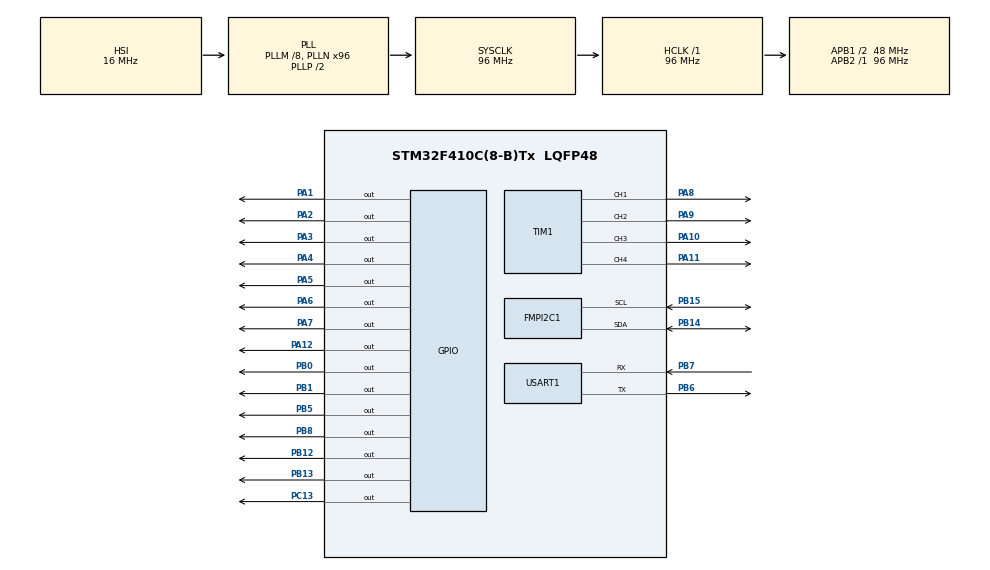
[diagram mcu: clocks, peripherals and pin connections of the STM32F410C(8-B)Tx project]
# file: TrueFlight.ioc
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Dma.Request0=USART1_RX
Dma.USART1_RX.0.Direction=DMA_PERIPH_TO_MEMORY
Dma.USART1_RX.0.FIFOMode=DMA_FIFOMODE_DISABLE
Dma.USART1_RX.0.Instance=DMA2_Stream2
Dma.USART1_RX.0.MemDataAlignment=DMA_MDATAALIGN_BYTE
Dma.USART1_RX.0.MemInc=DMA_MINC_ENABLE
Dma.USART1_RX.0.Mode=DMA_NORMAL
Dma.USART1_RX.0.PeriphDataAlignment=DMA_PDATAALIGN_BYTE
Dma.USART1_RX.0.PeriphInc=DMA_PINC_DISABLE
Dma.USART1_RX.0.Priority=DMA_PRIORITY_LOW
FMPI2C1.Timing=0x20303E5D
Mcu.Family=STM32F4
Mcu.Name=STM32F410C(8-B)Tx
Mcu.Package=LQFP48
NVIC.DMA2_Stream2_IRQn=true\:0\:0\:false\:false\:true\:false
NVIC.PriorityGroup=NVIC_PRIORITYGROUP_4
PA1.Signal=GPIO_Output
PA10.Signal=S_TIM1_CH3
PA11.Signal=S_TIM1_CH4
PA12.Signal=GPIO_Output
PA13.Mode=JTAG_5_pins
PA13.Signal=SYS_JTMS-SWDIO
PA14.Mode=JTAG_5_pins
PA14.Signal=SYS_JTCK-SWCLK
PA15.Mode=JTAG_5_pins
PA15.Signal=SYS_JTDI
PA2.Signal=GPIO_Output
PA3.Signal=GPIO_Output
PA4.Signal=GPIO_Output
PA5.Signal=GPIO_Output
PA6.Signal=GPIO_Output
PA7.Signal=GPIO_Output
PA8.Signal=S_TIM1_CH1
PA9.Signal=S_TIM1_CH2
PB0.Signal=GPIO_Output
PB1.Signal=GPIO_Output
PB12.Signal=GPIO_Output
PB13.Signal=GPIO_Output
PB14.Mode=I2C
PB14.Signal=FMPI2C1_SDA
PB15.Mode=I2C
PB15.Signal=FMPI2C1_SCL
PB3.Mode=JTAG_5_pins
PB3.Signal=SYS_JTDO-SWO
PB4.Mode=JTAG_5_pins
PB4.Signal=SYS_JTRST
PB5.Signal=GPIO_Output
PB6.Mode=Asynchronous
PB6.Signal=USART1_TX
PB7.Mode=Asynchronous
PB7.Signal=USART1_RX
PB8.Signal=GPIO_Output
PC13-ANTI_TAMP.Signal=GPIO_Output
PC14-OSC32_IN.Mode=LSE-External-Oscillator
PC14-OSC32_IN.Signal=RCC_OSC32_IN
PC15-OSC32_OUT.Mode=LSE-External-Oscillator
PC15-OSC32_OUT.Signal=RCC_OSC32_OUT
PH0\ -\ OSC_IN.Mode=HSE-External-Oscillator
PH0\ -\ OSC_IN.Signal=RCC_OSC_IN
PH1\ -\ OSC_OUT.Mode=HSE-External-Oscillator
PH1\ -\ OSC_OUT.Signal=RCC_OSC_OUT
ProjectManager.HeapSize=0x200
ProjectManager.StackSize=0x400
ProjectManager.TargetToolchain=MDK-ARM V5
RCC.48MHZClocksFreq_Value=48000000
RCC.AHBFreq_Value=96000000
RCC.APB1CLKDivider=RCC_HCLK_DIV2
RCC.APB1Freq_Value=48000000
RCC.APB1TimFreq_Value=96000000
RCC.APB2Freq_Value=96000000
RCC.APB2TimFreq_Value=96000000
RCC.CortexFreq_Value=96000000
RCC.HCLKFreq_Value=96000000
RCC.HSE_VALUE=25000000
RCC.HSI_VALUE=16000000
RCC.PLLM=8
RCC.PLLN=96
RCC.SYSCLKFreq_VALUE=96000000
RCC.SYSCLKSource=RCC_SYSCLKSOURCE_PLLCLK
RCC.VCOOutputFreq_Value=192000000
SH.S_TIM1_CH1.0=TIM1_CH1,PWM Generation1 CH1
SH.S_TIM1_CH2.0=TIM1_CH2,PWM Generation2 CH2
SH.S_TIM1_CH3.0=TIM1_CH3,PWM Generation3 CH3
SH.S_TIM1_CH4.0=TIM1_CH4,PWM Generation4 CH4
TIM1.Channel-PWM\ Generation1\ CH1=TIM_CHANNEL_1
TIM1.Channel-PWM\ Generation2\ CH2=TIM_CHANNEL_2
TIM1.Channel-PWM\ Generation3\ CH3=TIM_CHANNEL_3
TIM1.Channel-PWM\ Generation4\ CH4=TIM_CHANNEL_4
USART1.VirtualMode=VM_ASYNC
VP_RTC_VS_RTC_Activate.Mode=RTC_Enabled
board=custom

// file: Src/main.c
/* USER CODE BEGIN Header */
/**
  ******************************************************************************
  * @file           : main.c
  * @brief          : Main program body
  ******************************************************************************
  ** This notice applies to any and all portions of this file
  * that are not between comment pairs USER CODE BEGIN and
  * USER CODE END. Other portions of this file, whether
  * inserted by the user or by software development tools
  * are owned by their respective copyright owners.
  *
  * COPYRIGHT(c) 2021 STMicroelectronics
  *
  * Redistribution and use in source and binary forms, with or without modification,
  * are permitted provided that the following conditions are met:
  *   1. Redistributions of source code must retain the above copyright notice,
  *      this list of conditions and the following disclaimer.
  *   2. Redistributions in binary form must reproduce the above copyright notice,
  *      this list of conditions and the following disclaimer in the documentation
  *      and/or other materials provided with the distribution.
  *   3. Neither the name of STMicroelectronics nor the names of its contributors
  *      may be used to endorse or promote products derived from this software
  *      without specific prior written permission.
  *
  * THIS SOFTWARE IS PROVIDED BY THE COPYRIGHT HOLDERS AND CONTRIBUTORS "AS IS"
  * AND ANY EXPRESS OR IMPLIED WARRANTIES, INCLUDING, BUT NOT LIMITED TO, THE
  * IMPLIED WARRANTIES OF MERCHANTABILITY AND FITNESS FOR A PARTICULAR PURPOSE ARE
  * DISCLAIMED. IN NO EVENT SHALL THE COPYRIGHT HOLDER OR CONTRIBUTORS BE LIABLE
  * FOR ANY DIRECT, INDIRECT, INCIDENTAL, SPECIAL, EXEMPLARY, OR CONSEQUENTIAL
  * DAMAGES (INCLUDING, BUT NOT LIMITED TO, PROCUREMENT OF SUBSTITUTE GOODS OR
  * SERVICES; LOSS OF USE, DATA, OR PROFITS; OR BUSINESS INTERRUPTION) HOWEVER
  * CAUSED AND ON ANY THEORY OF LIABILITY, WHETHER IN CONTRACT, STRICT LIABILITY,
  * OR TORT (INCLUDING NEGLIGENCE OR OTHERWISE) ARISING IN ANY WAY OUT OF THE USE
  * OF THIS SOFTWARE, EVEN IF ADVISED OF THE POSSIBILITY OF SUCH DAMAGE.
  *
  ******************************************************************************
  */
/* USER CODE END Header */

#include "main.h"

/* USER CODE BEGIN Includes */
#include "TJ_MPU6050.h"
/* USER CODE END Includes */

FMPI2C_HandleTypeDef hfmpi2c1;

RTC_HandleTypeDef hrtc;

TIM_HandleTypeDef htim1;

UART_HandleTypeDef huart1;
DMA_HandleTypeDef hdma_usart1_rx;

void SystemClock_Config(void);
static void MX_GPIO_Init(void);
static void MX_DMA_Init(void);
static void MX_TIM1_Init(void);
static void MX_FMPI2C1_Init(void);
static void MX_USART1_UART_Init(void);
static void MX_RTC_Init(void);

/* USER CODE BEGIN 0 */
RawData_Def myAccelRaw, myGyroRaw;
ScaledData_Def myAccelScaled, myGyroScaled;
float gyro_x, gyro_y, gyro_z;
float acc_x, acc_y, acc_z;
/* USER CODE END 0 */

int main(void)
{
  /* USER CODE BEGIN 1 */
  MPU_ConfigTypeDef myMpuConfig;
  /* USER CODE END 1 */

  /* MCU Configuration--------------------------------------------------------*/

  /* Reset of all peripherals, Initializes the Flash interface and the Systick. */
  HAL_Init();

  /* Configure the system clock */
  SystemClock_Config();

  /* Initialize all configured peripherals */
  MX_GPIO_Init();
  MX_DMA_Init();
  MX_TIM1_Init();
  MX_FMPI2C1_Init();
  MX_USART1_UART_Init();
  MX_RTC_Init();
  /* USER CODE BEGIN 2 */
  //1. Initialise the MPU6050 module and I2C
	MPU6050_Init(&hfmpi2c1);
	//2. Configure Accel and Gyro parameters
	myMpuConfig.Accel_Full_Scale = AFS_SEL_4g;
	myMpuConfig.ClockSource = Internal_8MHz;
	myMpuConfig.CONFIG_DLPF = DLPF_184A_188G_Hz;
	myMpuConfig.Gyro_Full_Scale = FS_SEL_500;
	myMpuConfig.Sleep_Mode_Bit = 0;  //1: sleep mode, 0: normal mode
	MPU6050_Config(&myMpuConfig);
  /* USER CODE END 2 */

  /* Infinite loop */
  while (1)
  {

    /* USER CODE BEGIN 3 */
    MPU6050_Get_Accel_RawData(&myAccelRaw);
    MPU6050_Get_Gyro_RawData(&myGyroRaw);
    //MPU6050_Get_Accel_Scale(&myAccelScaled);
    //MPU6050_Get_Gyro_Scale(&myGyroScaled);
    gyro_x = myGyroRaw.x;
    gyro_y = myGyroRaw.y;
    gyro_z = myGyroRaw.z;
  }
  /* USER CODE END 3 */
}

void SystemClock_Config(void)
{
  RCC_OscInitTypeDef RCC_OscInitStruct = {0};
  RCC_ClkInitTypeDef RCC_ClkInitStruct = {0};
  RCC_PeriphCLKInitTypeDef PeriphClkInitStruct = {0};

  /**Configure the main internal regulator output voltage
  */
  __HAL_RCC_PWR_CLK_ENABLE();
  __HAL_PWR_VOLTAGESCALING_CONFIG(PWR_REGULATOR_VOLTAGE_SCALE1);
  /**Initializes the CPU, AHB and APB busses clocks
  */
  RCC_OscInitStruct.OscillatorType = RCC_OSCILLATORTYPE_HSI|RCC_OSCILLATORTYPE_LSI;
  RCC_OscInitStruct.HSIState = RCC_HSI_ON;
  RCC_OscInitStruct.HSICalibrationValue = RCC_HSICALIBRATION_DEFAULT;
  RCC_OscInitStruct.LSIState = RCC_LSI_ON;
  RCC_OscInitStruct.PLL.PLLState = RCC_PLL_ON;
  RCC_OscInitStruct.PLL.PLLSource = RCC_PLLSOURCE_HSI;
  RCC_OscInitStruct.PLL.PLLM = 8;
  RCC_OscInitStruct.PLL.PLLN = 96;
  RCC_OscInitStruct.PLL.PLLP = RCC_PLLP_DIV2;
  RCC_OscInitStruct.PLL.PLLQ = 4;
  RCC_OscInitStruct.PLL.PLLR = 2;
  if (HAL_RCC_OscConfig(&RCC_OscInitStruct) != HAL_OK)
  {
    Error_Handler();
  }
  /**Initializes the CPU, AHB and APB busses clocks
  */
  RCC_ClkInitStruct.ClockType = RCC_CLOCKTYPE_HCLK|RCC_CLOCKTYPE_SYSCLK
                              |RCC_CLOCKTYPE_PCLK1|RCC_CLOCKTYPE_PCLK2;
  RCC_ClkInitStruct.SYSCLKSource = RCC_SYSCLKSOURCE_PLLCLK;
  RCC_ClkInitStruct.AHBCLKDivider = RCC_SYSCLK_DIV1;
  RCC_ClkInitStruct.APB1CLKDivider = RCC_HCLK_DIV2;
  RCC_ClkInitStruct.APB2CLKDivider = RCC_HCLK_DIV1;

  if (HAL_RCC_ClockConfig(&RCC_ClkInitStruct, FLASH_LATENCY_3) != HAL_OK)
  {
    Error_Handler();
  }
  PeriphClkInitStruct.PeriphClockSelection = RCC_PERIPHCLK_RTC|RCC_PERIPHCLK_FMPI2C1;
  PeriphClkInitStruct.RTCClockSelection = RCC_RTCCLKSOURCE_LSI;
  PeriphClkInitStruct.Fmpi2c1ClockSelection = RCC_FMPI2C1CLKSOURCE_APB;
  if (HAL_RCCEx_PeriphCLKConfig(&PeriphClkInitStruct) != HAL_OK)
  {
    Error_Handler();
  }
}

static void MX_FMPI2C1_Init(void)
{

  hfmpi2c1.Instance = FMPI2C1;
  hfmpi2c1.Init.Timing = 0x20303E5D;
  hfmpi2c1.Init.OwnAddress1 = 0;
  hfmpi2c1.Init.AddressingMode = FMPI2C_ADDRESSINGMODE_7BIT;
  hfmpi2c1.Init.DualAddressMode = FMPI2C_DUALADDRESS_DISABLE;
  hfmpi2c1.Init.OwnAddress2 = 0;
  hfmpi2c1.Init.OwnAddress2Masks = FMPI2C_OA2_NOMASK;
  hfmpi2c1.Init.GeneralCallMode = FMPI2C_GENERALCALL_DISABLE;
  hfmpi2c1.Init.NoStretchMode = FMPI2C_NOSTRETCH_DISABLE;
  if (HAL_FMPI2C_Init(&hfmpi2c1) != HAL_OK)
  {
    Error_Handler();
  }
  /**Configure Analogue filter
  */
  if (HAL_FMPI2CEx_ConfigAnalogFilter(&hfmpi2c1, FMPI2C_ANALOGFILTER_ENABLE) != HAL_OK)
  {
    Error_Handler();
  }

}

static void MX_RTC_Init(void)
{

  /**Initialize RTC Only
  */
  hrtc.Instance = RTC;
  hrtc.Init.HourFormat = RTC_HOURFORMAT_24;
  hrtc.Init.AsynchPrediv = 127;
  hrtc.Init.SynchPrediv = 255;
  hrtc.Init.OutPut = RTC_OUTPUT_DISABLE;
  hrtc.Init.OutPutPolarity = RTC_OUTPUT_POLARITY_HIGH;
  hrtc.Init.OutPutType = RTC_OUTPUT_TYPE_OPENDRAIN;
  if (HAL_RTC_Init(&hrtc) != HAL_OK)
  {
    Error_Handler();
  }

}

static void MX_TIM1_Init(void)
{

  TIM_MasterConfigTypeDef sMasterConfig = {0};
  TIM_OC_InitTypeDef sConfigOC = {0};
  TIM_BreakDeadTimeConfigTypeDef sBreakDeadTimeConfig = {0};

  htim1.Instance = TIM1;
  htim1.Init.Prescaler = 0;
  htim1.Init.CounterMode = TIM_COUNTERMODE_UP;
  htim1.Init.Period = 0;
  htim1.Init.ClockDivision = TIM_CLOCKDIVISION_DIV1;
  htim1.Init.RepetitionCounter = 0;
  if (HAL_TIM_PWM_Init(&htim1) != HAL_OK)
  {
    Error_Handler();
  }
  sMasterConfig.MasterOutputTrigger = TIM_TRGO_RESET;
  sMasterConfig.MasterSlaveMode = TIM_MASTERSLAVEMODE_DISABLE;
  if (HAL_TIMEx_MasterConfigSynchronization(&htim1, &sMasterConfig) != HAL_OK)
  {
    Error_Handler();
  }
  sConfigOC.OCMode = TIM_OCMODE_PWM1;
  sConfigOC.Pulse = 0;
  sConfigOC.OCPolarity = TIM_OCPOLARITY_HIGH;
  sConfigOC.OCNPolarity = TIM_OCNPOLARITY_HIGH;
  sConfigOC.OCFastMode = TIM_OCFAST_DISABLE;
  sConfigOC.OCIdleState = TIM_OCIDLESTATE_RESET;
  sConfigOC.OCNIdleState = TIM_OCNIDLESTATE_RESET;
  if (HAL_TIM_PWM_ConfigChannel(&htim1, &sConfigOC, TIM_CHANNEL_1) != HAL_OK)
  {
    Error_Handler();
  }
  if (HAL_TIM_PWM_ConfigChannel(&htim1, &sConfigOC, TIM_CHANNEL_2) != HAL_OK)
  {
    Error_Handler();
  }
  if (HAL_TIM_PWM_ConfigChannel(&htim1, &sConfigOC, TIM_CHANNEL_3) != HAL_OK)
  {
    Error_Handler();
  }
  if (HAL_TIM_PWM_ConfigChannel(&htim1, &sConfigOC, TIM_CHANNEL_4) != HAL_OK)
  {
    Error_Handler();
  }
  sBreakDeadTimeConfig.OffStateRunMode = TIM_OSSR_DISABLE;
  sBreakDeadTimeConfig.OffStateIDLEMode = TIM_OSSI_DISABLE;
  sBreakDeadTimeConfig.LockLevel = TIM_LOCKLEVEL_OFF;
  sBreakDeadTimeConfig.DeadTime = 0;
  sBreakDeadTimeConfig.BreakState = TIM_BREAK_DISABLE;
  sBreakDeadTimeConfig.BreakPolarity = TIM_BREAKPOLARITY_HIGH;
  sBreakDeadTimeConfig.AutomaticOutput = TIM_AUTOMATICOUTPUT_DISABLE;
  if (HAL_TIMEx_ConfigBreakDeadTime(&htim1, &sBreakDeadTimeConfig) != HAL_OK)
  {
    Error_Handler();
  }
  HAL_TIM_MspPostInit(&htim1);

}

static void MX_USART1_UART_Init(void)
{

  huart1.Instance = USART1;
  huart1.Init.BaudRate = 115200;
  huart1.Init.WordLength = UART_WORDLENGTH_8B;
  huart1.Init.StopBits = UART_STOPBITS_1;
  huart1.Init.Parity = UART_PARITY_NONE;
  huart1.Init.Mode = UART_MODE_TX_RX;
  huart1.Init.HwFlowCtl = UART_HWCONTROL_NONE;
  huart1.Init.OverSampling = UART_OVERSAMPLING_16;
  if (HAL_UART_Init(&huart1) != HAL_OK)
  {
    Error_Handler();
  }

}

static void MX_DMA_Init(void)
{
  /* DMA controller clock enable */
  __HAL_RCC_DMA2_CLK_ENABLE();

  /* DMA interrupt init */
  /* DMA2_Stream2_IRQn interrupt configuration */
  HAL_NVIC_SetPriority(DMA2_Stream2_IRQn, 0, 0);
  HAL_NVIC_EnableIRQ(DMA2_Stream2_IRQn);

}

static void MX_GPIO_Init(void)
{
  GPIO_InitTypeDef GPIO_InitStruct = {0};

  /* GPIO Ports Clock Enable */
  __HAL_RCC_GPIOC_CLK_ENABLE();
  __HAL_RCC_GPIOH_CLK_ENABLE();
  __HAL_RCC_GPIOA_CLK_ENABLE();
  __HAL_RCC_GPIOB_CLK_ENABLE();

  /*Configure GPIO pin Output Level */
  HAL_GPIO_WritePin(GPIOC, GPIO_PIN_13, GPIO_PIN_RESET);

  /*Configure GPIO pin Output Level */
  HAL_GPIO_WritePin(GPIOA, GPIO_PIN_1|GPIO_PIN_2|GPIO_PIN_3|GPIO_PIN_4
                          |GPIO_PIN_5|GPIO_PIN_6|GPIO_PIN_7|GPIO_PIN_12, GPIO_PIN_RESET);

  /*Configure GPIO pin Output Level */
  HAL_GPIO_WritePin(GPIOB, GPIO_PIN_0|GPIO_PIN_1|GPIO_PIN_12|GPIO_PIN_13
                          |GPIO_PIN_5|GPIO_PIN_8, GPIO_PIN_RESET);

  /*Configure GPIO pin : PC13 */
  GPIO_InitStruct.Pin = GPIO_PIN_13;
  GPIO_InitStruct.Mode = GPIO_MODE_OUTPUT_PP;
  GPIO_InitStruct.Pull = GPIO_NOPULL;
  GPIO_InitStruct.Speed = GPIO_SPEED_FREQ_LOW;
  HAL_GPIO_Init(GPIOC, &GPIO_InitStruct);

  /*Configure GPIO pins : PA1 PA2 PA3 PA4
                           PA5 PA6 PA7 PA12 */
  GPIO_InitStruct.Pin = GPIO_PIN_1|GPIO_PIN_2|GPIO_PIN_3|GPIO_PIN_4
                          |GPIO_PIN_5|GPIO_PIN_6|GPIO_PIN_7|GPIO_PIN_12;
  GPIO_InitStruct.Mode = GPIO_MODE_OUTPUT_PP;
  GPIO_InitStruct.Pull = GPIO_NOPULL;
  GPIO_InitStruct.Speed = GPIO_SPEED_FREQ_LOW;
  HAL_GPIO_Init(GPIOA, &GPIO_InitStruct);

  /*Configure GPIO pins : PB0 PB1 PB12 PB13
                           PB5 PB8 */
  GPIO_InitStruct.Pin = GPIO_PIN_0|GPIO_PIN_1|GPIO_PIN_12|GPIO_PIN_13
                          |GPIO_PIN_5|GPIO_PIN_8;
  GPIO_InitStruct.Mode = GPIO_MODE_OUTPUT_PP;
  GPIO_InitStruct.Pull = GPIO_NOPULL;
  GPIO_InitStruct.Speed = GPIO_SPEED_FREQ_LOW;
  HAL_GPIO_Init(GPIOB, &GPIO_InitStruct);

}

void Error_Handler(void)
{
}

/************************ (C) COPYRIGHT STMicroelectronics *****END OF FILE****/
